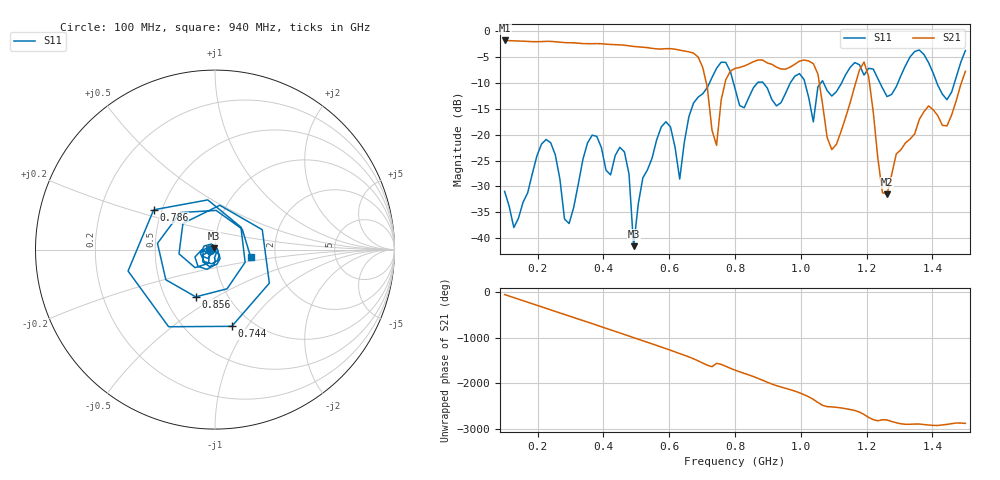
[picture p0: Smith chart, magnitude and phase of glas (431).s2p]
! NanoVNA-App
! Date: 2025-09-25 15:58:50
! Start: 100MHz Stop: 1,5GHz Points: 101
! S-Parameter data: F S11 S21 S12 S22
# Hz S RI R 50
!  Frequency  S11_Real  S11_Imag  S21_Real  S21_Imag  S12_Real  S12_Imag  S22_Real  S22_Imag
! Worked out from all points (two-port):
!   101 points, 100 MHz to 1.5 GHz, reference 50 ohm
!   highest |S21| = -1.80 dB at 100 MHz (marker M1); lowest = -31.5 dB at 1.262 GHz (marker M2)
!   |S21| within 3 dB of the highest: start of sweep to 684.2 MHz
!   lowest |S11| = -41.5 dB at 492 MHz (marker M3), VSWR 1.02, Z = 49.5 + j0.647 ohm
!   |S11| at or under -10 dB: start of sweep to 722.5 MHz; 795.4 MHz to 868.2 MHz (72.72 MHz wide, 8.74 % of centre); 886 MHz to 967.9 MHz (81.82 MHz wide, 8.83 % of centre) (the widest 3 of 7)
!   S12 and S22 are empty: the file has one direction only
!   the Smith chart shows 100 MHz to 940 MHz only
!   S11 on the Smith chart (normalised r, x): 100 MHz: 0.95, -0.01; 744 MHz: 0.81, -0.85; 786 MHz: 0.45, +0.24; 856 MHz: 0.71, -0.41; 940 MHz: 1.49, -0.14
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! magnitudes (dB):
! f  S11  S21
! 100 MHz  -30.9  -1.8
! 128 MHz  -37.9  -1.9
! 226 MHz  -20.9  -2.0
! 296 MHz  -37.2  -2.2
! 338 MHz  -24.8  -2.4
! 464 MHz  -23.3  -2.7
! 492 MHz  -41.5  -3.0
! 576 MHz  -18.5  -3.5
! 632 MHz  -28.6  -3.7
! 702 MHz  -12.1  -7.0
! 744 MHz  -7.2  -22.1
! 786 MHz  -7.8  -7.7
! 800 MHz  -11.1  -7.2
! 856 MHz  -10.9  -5.9
! 940 MHz  -13.8  -7.3
! 996 MHz  -8.2  -5.8
! 1.038 GHz  -17.5  -6.3
! 1.094 GHz  -12.5  -22.9
! 1.192 GHz  -8.5  -6.0
! 1.262 GHz  -12.6  -31.5
! 1.276 GHz  -12.2  -27.7
! 1.5 GHz  -3.8  -7.8
